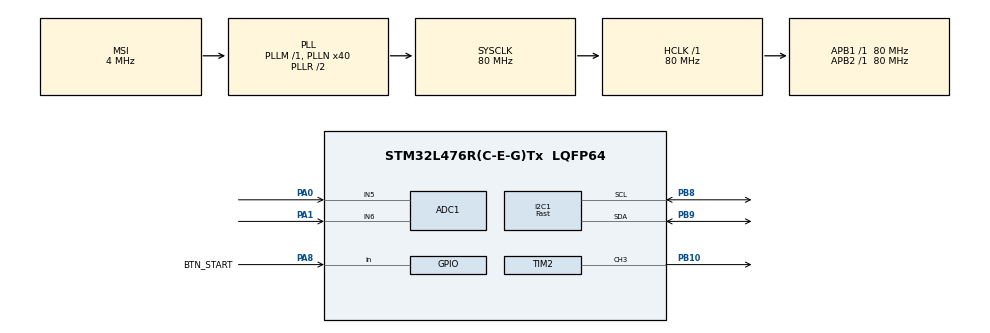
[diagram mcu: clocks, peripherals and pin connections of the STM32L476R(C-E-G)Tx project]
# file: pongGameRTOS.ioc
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ADC1.Channel-1\#ChannelRegularConversion=ADC_CHANNEL_5
ADC1.NbrOfConversionFlag=1
ADC1.OffsetNumber-1\#ChannelRegularConversion=ADC_OFFSET_NONE
ADC1.Rank-1\#ChannelRegularConversion=1
ADC1.SamplingTime-1\#ChannelRegularConversion=ADC_SAMPLETIME_2CYCLES_5
ADC1.master=1
I2C1.I2C_Speed_Mode=I2C_Fast
I2C1.Timing=0x00F12981
Mcu.Family=STM32L4
Mcu.Name=STM32L476R(C-E-G)Tx
Mcu.Package=LQFP64
NVIC.PriorityGroup=NVIC_PRIORITYGROUP_4
NVIC.TIM6_DAC_IRQn=true\:0\:0\:false\:false\:true\:false\:true\:true
NVIC.TimeBase=TIM6_DAC_IRQn
NVIC.TimeBaseIP=TIM6
PA0.Signal=ADCx_IN5
PA1.Signal=ADCx_IN6
PA8.GPIO_Label=BTN_START
PA8.GPIO_PuPd=GPIO_PULLUP
PA8.Signal=GPIO_Input
PB10.Signal=S_TIM2_CH3
PB8.Mode=I2C
PB8.Signal=I2C1_SCL
PB9.Mode=I2C
PB9.Signal=I2C1_SDA
ProjectManager.HeapSize=0x200
ProjectManager.StackSize=0x400
ProjectManager.TargetToolchain=CMake
RCC.ADCFreq_Value=32000000
RCC.AHBFreq_Value=80000000
RCC.APB1Freq_Value=80000000
RCC.APB1TimFreq_Value=80000000
RCC.APB2Freq_Value=80000000
RCC.APB2TimFreq_Value=80000000
RCC.CortexFreq_Value=80000000
RCC.HCLKFreq_Value=80000000
RCC.HSE_VALUE=8000000
RCC.HSI_VALUE=16000000
RCC.LSE_VALUE=32768
RCC.MSI_VALUE=4000000
RCC.PLLN=40
RCC.PLLSAI1N=16
RCC.SYSCLKFreq_VALUE=80000000
RCC.SYSCLKSource=RCC_SYSCLKSOURCE_PLLCLK
RCC.USBFreq_Value=32000000
RCC.VCOOutputFreq_Value=160000000
SH.ADCx_IN5.0=ADC1_IN5,IN5-Single-Ended
SH.ADCx_IN6.0=ADC1_IN6,IN6-Single-Ended
SH.S_TIM2_CH3.0=TIM2_CH3,PWM Generation3 CH3
TIM2.Channel-PWM\ Generation3\ CH3=TIM_CHANNEL_3
VP_SYS_VS_tim6.Mode=TIM6
board=custom

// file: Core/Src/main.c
/* USER CODE BEGIN Header */
/**
  ******************************************************************************
  * @file           : main.c
  * @brief          : Main program body
  ******************************************************************************
  * @attention
  *
  * Copyright (c) 2026 STMicroelectronics.
  * All rights reserved.
  *
  * This software is licensed under terms that can be found in the LICENSE file
  * in the root directory of this software component.
  * If no LICENSE file comes with this software, it is provided AS-IS.
  *
  ******************************************************************************
  */
/* USER CODE END Header */
#include "main.h"

/* USER CODE BEGIN Includes */
#include "ssd1306.h"
#include "ssd1306_fonts.h"
/* USER CODE END Includes */

/* USER CODE BEGIN PTD */
typedef enum {
  GAME_IDLE = 0,      // pantalla de inicio
  GAME_PLAYING,       // partida en curso
  GAME_OVER           // partida terminada (por puntos o por el botón)
} gameState_t;

// Estado del juego compartido entre GameTask (escribe) y RenderTask (lee).
// Protegido por gameMutex.
typedef struct {
  gameState_t state;
  s32 ballX, ballY;          // posición de la bola en Q8 (pixeles * 256)
  s32 paddleY[2];            // posición superior de cada paleta en Q8
  u8  score[2];              // marcador [jugador 1, jugador 2]
  u8  winner;                // 0 = empate/terminado con botón, 1 o 2 = ganador
  u8  ballVisible;           // la bola se oculta durante el saque
  u32 frame;                 // contador de frames (para parpadeos en pantalla)
} game_t;

// Lecturas de entrada compartidas entre InputTask (escribe) y GameTask (lee).
// Protegido por inputMutex.
typedef struct {
  s16 joy[2];                // desviación de cada joystick respecto al centro (-2048..2047)
} input_t;

typedef struct {
  u16 freqHz;                // 0 = silencio
  u16 ms;
} note_t;
/* USER CODE END PTD */

/* USER CODE BEGIN PD */
// ---------------- Hardware ----------------
// Botón START/STOP (activo en bajo). Configurado en CubeMX:
// PA8 (D7) -> GPIO_Input, Pull-up, User Label = BTN_START
#define BUTTON_PORT             BTN_START_GPIO_Port
#define BUTTON_PIN              BTN_START_Pin
#define BUTTON_DEBOUNCE_SAMPLES 3U            // lecturas iguales seguidas

// Joysticks (solo eje Y) -> ADC1
#define JOY1_ADC_CHANNEL        ADC_CHANNEL_5 // PA0 - A0
#define JOY2_ADC_CHANNEL        ADC_CHANNEL_6 // PA1 - A1
#define JOY_CENTER              2048          // centro teórico del ADC de 12 bits
#define JOY_MARGIN              600           // margen alrededor del centro
#define JOY_INVERT_Y            1             // 0/1 si la paleta se mueve al revés

// Buzzer -> TIM2 CH3 en PB10 (D6), PWM al 50 %
#define BUZZER_TIMER            htim2         //htim2 es el handler del TIMER2, este define es un alias
#define BUZZER_CHANNEL          TIM_CHANNEL_3
#define BUZZER_COUNTER_HZ       1000000U      // contador del timer a 1 MHz

// ---------------- Tiempos ----------------
#define GAME_FPS                30U     //30 frames por segundo
#define INPUT_PERIOD_MS         10U     //cada 10ms se lee el adc de cada joystick

// ---------------- Pantalla y juego ----------------
//SCK pin D15 - SDA pin D14
#define SCREEN_W                SSD1306_WIDTH   // 128
#define SCREEN_H                SSD1306_HEIGHT  // 64

#define PADDLE_W                2                           // width of the paddle in pixels
#define PADDLE_H                14                          // height of the paddle in pixels
#define PADDLE_LEFT_X           2                           // initial x position of the left paddle
#define PADDLE_RIGHT_X          (SCREEN_W - 2 - PADDLE_W)   // initial x position of the right paddle
#define PADDLE_SPEED            2   // px por frame al mover el joystick

#define BALL_SIZE               2   // bola de 2x2 px
#define BALL_SPEED_X            2   // px por frame en horizontal (constante)
#define BALL_SPEED_Y            1   // px por frame en vertical (+1 o -1)
#define BALL_SPEED_Y_MAX        2   // velocidad máxima en vertical, para quitarle movimiento deterministico

#define SERVE_DELAY_FRAMES      30U // después de cada punto, la bola desaparece durante 30 frames. A 30 FPS eso es 30 / 30 = 1 segundo para que los jugadores se preparen
#define WIN_SCORE               5U  // el primero que llega a 5 gana y se pasa a la pantalla de fin del juego.s

// ---------------- Mascaras de Eventos ----------------
// Grupo inputEvents (InputTask -> GameTask)
#define EV_BTN_PRESSED          (1U << 0)
// Grupo frameEvents (GameTask -> RenderTask)
#define EV_FRAME_READY          (1U << 0)
// Grupo soundEvents (GameTask -> SoundTask)
#define EV_SND_WALL             (1U << 0)
#define EV_SND_PADDLE           (1U << 1)
#define EV_SND_START            (1U << 2)
#define EV_SND_SCORE            (1U << 3)
#define EV_SND_GAMEOVER         (1U << 4)
#define EV_SND_ALL              (EV_SND_WALL | EV_SND_PADDLE | EV_SND_START | EV_SND_SCORE | EV_SND_GAMEOVER)

// ---------------- Tareas ----------------
// En este RTOS: 0 = prioridad más alta
#define PRIO_SOUND              1
#define PRIO_INPUT              2
#define PRIO_GAME               3
#define PRIO_RENDER             4

#define STACK_SOUND             768
#define STACK_INPUT             1024
#define STACK_GAME              1024
#define STACK_RENDER            1024
/* USER CODE END PD */

/* USER CODE BEGIN PM */
#define MS_TO_TICKS(ms)  ((u32)(ms) * RTOS_TICK_RATE_HZ / 1000U)
#define ARRAY_LEN(a)     (sizeof(a) / sizeof((a)[0]))
/* USER CODE END PM */

ADC_HandleTypeDef hadc1;

I2C_HandleTypeDef hi2c1;

TIM_HandleTypeDef htim2;

/* USER CODE BEGIN PV */
// ---- Tareas ----
TCB_t soundTaskTCB, inputTaskTCB, gameTaskTCB, renderTaskTCB;
u8 soundStack[STACK_SOUND]   __attribute__((aligned(8)));
u8 inputStack[STACK_INPUT]   __attribute__((aligned(8)));
u8 gameStack[STACK_GAME]     __attribute__((aligned(8)));
u8 renderStack[STACK_RENDER] __attribute__((aligned(8)));

// ---- Sincronización ----
static Mutex_t gameMutex;      // protege 'game'
static Mutex_t inputMutex;     // protege 'input'
static event_t inputEvents;    // botón
static event_t frameEvents;    // frame listo para dibujar
static event_t soundEvents;    // efectos de sonido

// ---- Datos compartidos ---- (acceder solo con Mutex)
static game_t  game;
static input_t input;

// ---- Efectos de sonido PWM en buzzer ---- {frecuencia, duración en ms}
static const note_t sndPaddle[]   = { {1000, 25} };                        // "tic" agudo
static const note_t sndWall[]     = { {600, 20} };                         // "tic" más grave
static const note_t sndStart[]    = { {523, 80}, {659, 80}, {784, 120} };  // Do-Mi-Sol subiendo
static const note_t sndScore[]    = { {300, 80}, {0, 20}, {200, 150} };    // dos tonos bajando
static const note_t sndGameOver[] = { {784, 120}, {659, 120}, {523, 120}, {392, 300} }; // Sol-Mi-Do-Sol bajando
/* USER CODE END PV */

void SystemClock_Config(void);
static void MX_GPIO_Init(void);
static void MX_ADC1_Init(void);
static void MX_TIM2_Init(void);
static void MX_I2C1_Init(void);

/* USER CODE BEGIN 0 */
void SoundTask(void);
void InputTask(void);
void GameTask(void);
void RenderTask(void);

// Utilidades de eventos
static u16  eventsWaitAndTake(eventHandler_t ev, u16 bits);
static u16  eventsTake(eventHandler_t ev, u16 bits);

// Hardware
static u32  buttonIsPressed(void);
static u16  joystickReadRaw(u32 channel);
static void buzzerInit(void);
static void buzzerTone(u16 freqHz);
static void buzzerOff(void);

// Juego
static void gameReset(game_t *g);
static void gameServe(game_t *g, s32 *vx, s32 *vy, s8 direction);
static u32  randomNext(void);
static void drawFrame(const game_t *g);
static void drawCenteredText(char *text, u8 y, SSD1306_Font_t font);
static void u8ToString(u8 value, char *out);
/* USER CODE END 0 */

int main(void)
{

  /* MCU Configuration--------------------------------------------------------*/

  /* Reset of all peripherals, Initializes the Flash interface and the Systick. */
  HAL_Init();

  /* Configure the system clock */
  SystemClock_Config();

  /* Initialize all configured peripherals */
  MX_GPIO_Init();
  MX_ADC1_Init();
  MX_TIM2_Init();
  MX_I2C1_Init();
  /* USER CODE BEGIN 2 */
  // El botón (PA8) ya lo configura MX_GPIO_Init()
  buzzerInit();

  HAL_ADCEx_Calibration_Start(&hadc1, ADC_SINGLE_ENDED);

  ssd1306_Init();                    // usa HAL_Delay internamente
  ssd1306_Fill(Black);
  ssd1306_UpdateScreen();

  /* ---------- Prioridades de las interrupciones del RTOS ----------
   * SysTick y PendSV hacen el cambio de contexto: deben tener la prioridad MÁS BAJA
   * (15), igual que TIM6 (base de tiempo de HAL). Así nunca interrumpen a otra ISR
   * y el cambio de contexto siempre ocurre desde una tarea. */
  HAL_NVIC_SetPriority(PendSV_IRQn, 15, 0);
  HAL_NVIC_SetPriority(SysTick_IRQn, 15, 0);

  // ---------- RTOS ----------
  rtosInit(); //Initialize the RTOS

  MutexInit(&gameMutex);
  MutexInit(&inputMutex);
  eventsInit(&inputEvents, 0);
  eventsInit(&frameEvents, 0);
  eventsInit(&soundEvents, 0);

  gameReset(&game);
  game.state = GAME_IDLE;

  taskCreate(&soundTaskTCB,  SoundTask,  PRIO_SOUND,  soundStack,  STACK_SOUND,  "SoundTask");
  taskCreate(&inputTaskTCB,  InputTask,  PRIO_INPUT,  inputStack,  STACK_INPUT,  "InputTask");
  taskCreate(&gameTaskTCB,   GameTask,   PRIO_GAME,   gameStack,   STACK_GAME,   "GameTask");
  taskCreate(&renderTaskTCB, RenderTask, PRIO_RENDER, renderStack, STACK_RENDER, "RenderTask");

  rtosStart(); //Starting the RTOS scheduler
  /* USER CODE END 2 */

  /* Infinite loop */
  while (1)
  {

  }
}

void SystemClock_Config(void)
{
  RCC_OscInitTypeDef RCC_OscInitStruct = {0};
  RCC_ClkInitTypeDef RCC_ClkInitStruct = {0};

  /** Configure the main internal regulator output voltage
  */
  if (HAL_PWREx_ControlVoltageScaling(PWR_REGULATOR_VOLTAGE_SCALE1) != HAL_OK)
  {
    Error_Handler();
  }

  /** Initializes the RCC Oscillators according to the specified parameters
  * in the RCC_OscInitTypeDef structure.
  */
  RCC_OscInitStruct.OscillatorType = RCC_OSCILLATORTYPE_MSI;
  RCC_OscInitStruct.MSIState = RCC_MSI_ON;
  RCC_OscInitStruct.MSICalibrationValue = 0;
  RCC_OscInitStruct.MSIClockRange = RCC_MSIRANGE_6;
  RCC_OscInitStruct.PLL.PLLState = RCC_PLL_ON;
  RCC_OscInitStruct.PLL.PLLSource = RCC_PLLSOURCE_MSI;
  RCC_OscInitStruct.PLL.PLLM = 1;
  RCC_OscInitStruct.PLL.PLLN = 40;
  RCC_OscInitStruct.PLL.PLLP = RCC_PLLP_DIV7;
  RCC_OscInitStruct.PLL.PLLQ = RCC_PLLQ_DIV2;
  RCC_OscInitStruct.PLL.PLLR = RCC_PLLR_DIV2;
  if (HAL_RCC_OscConfig(&RCC_OscInitStruct) != HAL_OK)
  {
    Error_Handler();
  }

  /** Initializes the CPU, AHB and APB buses clocks
  */
  RCC_ClkInitStruct.ClockType = RCC_CLOCKTYPE_HCLK|RCC_CLOCKTYPE_SYSCLK
                              |RCC_CLOCKTYPE_PCLK1|RCC_CLOCKTYPE_PCLK2;
  RCC_ClkInitStruct.SYSCLKSource = RCC_SYSCLKSOURCE_PLLCLK;
  RCC_ClkInitStruct.AHBCLKDivider = RCC_SYSCLK_DIV1;
  RCC_ClkInitStruct.APB1CLKDivider = RCC_HCLK_DIV1;
  RCC_ClkInitStruct.APB2CLKDivider = RCC_HCLK_DIV1;

  if (HAL_RCC_ClockConfig(&RCC_ClkInitStruct, FLASH_LATENCY_4) != HAL_OK)
  {
    Error_Handler();
  }
}

static void MX_ADC1_Init(void)
{

  ADC_MultiModeTypeDef multimode = {0};
  ADC_ChannelConfTypeDef sConfig = {0};

  /** Common config
  */
  hadc1.Instance = ADC1;
  hadc1.Init.ClockPrescaler = ADC_CLOCK_ASYNC_DIV1;
  hadc1.Init.Resolution = ADC_RESOLUTION_12B;
  hadc1.Init.DataAlign = ADC_DATAALIGN_RIGHT;
  hadc1.Init.ScanConvMode = ADC_SCAN_DISABLE;
  hadc1.Init.EOCSelection = ADC_EOC_SINGLE_CONV;
  hadc1.Init.LowPowerAutoWait = DISABLE;
  hadc1.Init.ContinuousConvMode = DISABLE;
  hadc1.Init.NbrOfConversion = 1;
  hadc1.Init.DiscontinuousConvMode = DISABLE;
  hadc1.Init.ExternalTrigConv = ADC_SOFTWARE_START;
  hadc1.Init.ExternalTrigConvEdge = ADC_EXTERNALTRIGCONVEDGE_NONE;
  hadc1.Init.DMAContinuousRequests = DISABLE;
  hadc1.Init.Overrun = ADC_OVR_DATA_PRESERVED;
  hadc1.Init.OversamplingMode = DISABLE;
  if (HAL_ADC_Init(&hadc1) != HAL_OK)
  {
    Error_Handler();
  }

  /** Configure the ADC multi-mode
  */
  multimode.Mode = ADC_MODE_INDEPENDENT;
  if (HAL_ADCEx_MultiModeConfigChannel(&hadc1, &multimode) != HAL_OK)
  {
    Error_Handler();
  }

  /** Configure Regular Channel
  */
  sConfig.Channel = ADC_CHANNEL_5;
  sConfig.Rank = ADC_REGULAR_RANK_1;
  sConfig.SamplingTime = ADC_SAMPLETIME_2CYCLES_5;
  sConfig.SingleDiff = ADC_SINGLE_ENDED;
  sConfig.OffsetNumber = ADC_OFFSET_NONE;
  sConfig.Offset = 0;
  if (HAL_ADC_ConfigChannel(&hadc1, &sConfig) != HAL_OK)
  {
    Error_Handler();
  }

}

static void MX_I2C1_Init(void)
{

  hi2c1.Instance = I2C1;
  hi2c1.Init.Timing = 0x00F12981;
  hi2c1.Init.OwnAddress1 = 0;
  hi2c1.Init.AddressingMode = I2C_ADDRESSINGMODE_7BIT;
  hi2c1.Init.DualAddressMode = I2C_DUALADDRESS_DISABLE;
  hi2c1.Init.OwnAddress2 = 0;
  hi2c1.Init.OwnAddress2Masks = I2C_OA2_NOMASK;
  hi2c1.Init.GeneralCallMode = I2C_GENERALCALL_DISABLE;
  hi2c1.Init.NoStretchMode = I2C_NOSTRETCH_DISABLE;
  if (HAL_I2C_Init(&hi2c1) != HAL_OK)
  {
    Error_Handler();
  }

  /** Configure Analogue filter
  */
  if (HAL_I2CEx_ConfigAnalogFilter(&hi2c1, I2C_ANALOGFILTER_ENABLE) != HAL_OK)
  {
    Error_Handler();
  }

  /** Configure Digital filter
  */
  if (HAL_I2CEx_ConfigDigitalFilter(&hi2c1, 0) != HAL_OK)
  {
    Error_Handler();
  }

}

static void MX_TIM2_Init(void)
{

  TIM_MasterConfigTypeDef sMasterConfig = {0};
  TIM_OC_InitTypeDef sConfigOC = {0};

  htim2.Instance = TIM2;
  htim2.Init.Prescaler = 0;
  htim2.Init.CounterMode = TIM_COUNTERMODE_UP;
  htim2.Init.Period = 4294967295;
  htim2.Init.ClockDivision = TIM_CLOCKDIVISION_DIV1;
  htim2.Init.AutoReloadPreload = TIM_AUTORELOAD_PRELOAD_DISABLE;
  if (HAL_TIM_PWM_Init(&htim2) != HAL_OK)
  {
    Error_Handler();
  }
  sMasterConfig.MasterOutputTrigger = TIM_TRGO_RESET;
  sMasterConfig.MasterSlaveMode = TIM_MASTERSLAVEMODE_DISABLE;
  if (HAL_TIMEx_MasterConfigSynchronization(&htim2, &sMasterConfig) != HAL_OK)
  {
    Error_Handler();
  }
  sConfigOC.OCMode = TIM_OCMODE_PWM1;
  sConfigOC.Pulse = 0;
  sConfigOC.OCPolarity = TIM_OCPOLARITY_HIGH;
  sConfigOC.OCFastMode = TIM_OCFAST_DISABLE;
  if (HAL_TIM_PWM_ConfigChannel(&htim2, &sConfigOC, TIM_CHANNEL_3) != HAL_OK)
  {
    Error_Handler();
  }
  HAL_TIM_MspPostInit(&htim2);

}

static void MX_GPIO_Init(void)
{
  GPIO_InitTypeDef GPIO_InitStruct = {0};

  /* GPIO Ports Clock Enable */
  __HAL_RCC_GPIOA_CLK_ENABLE();
  __HAL_RCC_GPIOB_CLK_ENABLE();

  /*Configure GPIO pin : BTN_START_Pin */
  GPIO_InitStruct.Pin = BTN_START_Pin;
  GPIO_InitStruct.Mode = GPIO_MODE_INPUT;
  GPIO_InitStruct.Pull = GPIO_PULLUP;
  HAL_GPIO_Init(BTN_START_GPIO_Port, &GPIO_InitStruct);

}

/* USER CODE BEGIN 4 */
/* ==========================================================================
 *                          UTILIDADES DE EVENTOS
 * ========================================================================== */

/**
 * @brief Espera a que se active alguno de 'bits' y los consume (los borra).
 * @details eventsWaitAny() siempre bloquea, aunque el bit ya esté activo. Para no
 * perder un aviso, se revisa el bit y se llama a eventsWaitAny() dentro de una
 * sección crítica: el bloqueo real (PendSV) ocurre al habilitar interrupciones,
 * cuando la tarea ya está en la cola de espera. Así ningún eventsSetEvent()
 * puede colarse entre la comprobación y la espera.
 * @return bits que se activaron (y que fueron borrados)
 */
static u16 eventsWaitAndTake(eventHandler_t ev, u16 bits)
{
  u16 got = 0;
  while (got == 0) {
    portableDisableInterrupts();
    if ((ev->events & bits) == 0) {
      eventsWaitAny(ev, bits);          // encola la tarea; el cambio de contexto queda pendiente
    }
    portableEnableInterrupts();         // aquí se bloquea la tarea si no había bits
    got = eventsTake(ev, bits);         // al despertar: leer y borrar
  }
  return got;
}

/**
 * @brief Lee y borra de forma atómica los bits indicados, sin bloquear.
 * @return bits que estaban activos
 */
static u16 eventsTake(eventHandler_t ev, u16 bits)
{
  portableDisableInterrupts();
  u16 got = ev->events & bits;
  if (got) {
    eventsClearEvent(ev, got);
  }
  portableEnableInterrupts();
  return got;
}

/* ==========================================================================
 *                               HARDWARE
 * ========================================================================== */

static u32 buttonIsPressed(void)
{
  return (HAL_GPIO_ReadPin(BUTTON_PORT, BUTTON_PIN) == GPIO_PIN_RESET);   // activo en bajo
}

/**
 * @brief Una conversión del ADC1 en el canal indicado (polling).
 * @note  Solo la usa InputTask, por eso el ADC no necesita mutex.
 */
static u16 joystickReadRaw(u32 channel)
{
  ADC_ChannelConfTypeDef cfg = {0};
  u16 value = 2048;

  cfg.Channel      = channel;
  cfg.Rank         = ADC_REGULAR_RANK_1;
  cfg.SamplingTime = ADC_SAMPLETIME_247CYCLES_5;   // potenciómetros de 10k: más tiempo de muestreo
  cfg.SingleDiff   = ADC_SINGLE_ENDED;
  cfg.OffsetNumber = ADC_OFFSET_NONE;
  cfg.Offset       = 0;

  if (HAL_ADC_ConfigChannel(&hadc1, &cfg) != HAL_OK) {
    return value;
  }

  // Dos conversiones seguidas: la primera tras cambiar de canal puede arrastrar
  // carga del canal anterior, así que se descarta y se usa la segunda.
  for (u8 i = 0; i < 2; i++) {
    HAL_ADC_Start(&hadc1);
    if (HAL_ADC_PollForConversion(&hadc1, 5) == HAL_OK) {
      value = (u16)HAL_ADC_GetValue(&hadc1);
    }
  }
  HAL_ADC_Stop(&hadc1);
  return value;
}

/** @brief Configura el contador del timer del buzzer a 1 MHz y arranca el PWM en silencio. */
static void buzzerInit(void)
{
  // Reloj del timer: TIM2 está en APB1. Si el prescaler de APB1 es > 1, el timer va al doble.
  u32 timClk = HAL_RCC_GetPCLK1Freq();
  if ((RCC->CFGR & RCC_CFGR_PPRE1) != RCC_CFGR_PPRE1_DIV1) {
    timClk *= 2U;
  }
  __HAL_TIM_SET_PRESCALER(&BUZZER_TIMER, (timClk / BUZZER_COUNTER_HZ) - 1U);
  __HAL_TIM_SET_AUTORELOAD(&BUZZER_TIMER, 1000U - 1U);
  __HAL_TIM_SET_COMPARE(&BUZZER_TIMER, BUZZER_CHANNEL, 0);        // 0 % = silencio
  HAL_TIM_GenerateEvent(&BUZZER_TIMER, TIM_EVENTSOURCE_UPDATE);   // cargar el prescaler ya
  HAL_TIM_PWM_Start(&BUZZER_TIMER, BUZZER_CHANNEL);
}

/** @brief Genera un tono cuadrado al 50 % (para buzzer pasivo). */
static void buzzerTone(u16 freqHz)
{
  if (freqHz == 0U) {
    buzzerOff();
    return;
  }
  u32 arr = (BUZZER_COUNTER_HZ / freqHz) - 1U;
  __HAL_TIM_SET_AUTORELOAD(&BUZZER_TIMER, arr);
  __HAL_TIM_SET_COMPARE(&BUZZER_TIMER, BUZZER_CHANNEL, arr / 2U);
  __HAL_TIM_SET_COUNTER(&BUZZER_TIMER, 0);   // evita que el contador quede por encima del nuevo ARR
}

static void buzzerOff(void)
{
  __HAL_TIM_SET_COMPARE(&BUZZER_TIMER, BUZZER_CHANNEL, 0);
}

/* ==========================================================================
 *                             LÓGICA DEL JUEGO
 * ========================================================================== */

/** @brief Generador pseudoaleatorio simple (xorshift32). */
static u32 randomNext(void)
{
  static u32 seed = 0;
  if (seed == 0U) {
    seed = (u32)portableGetSystemTicks() ^ 0xA5A5F00DU;
    if (seed == 0U) seed = 1U;
  }
  seed ^= seed << 13;
  seed ^= seed >> 17;
  seed ^= seed << 5;
  return seed;
}

/** @brief Deja el marcador en 0 y las paletas centradas. */
static void gameReset(game_t *g)
{
  g->score[0] = 0;
  g->score[1] = 0;
  g->winner   = 0;
  g->paddleY[0] = (SCREEN_H - PADDLE_H) / 2;
  g->paddleY[1] = (SCREEN_H - PADDLE_H) / 2;
  g->ballX = (SCREEN_W - BALL_SIZE) / 2;
  g->ballY = (SCREEN_H - BALL_SIZE) / 2;
  g->ballVisible = 0;
}

/**
 * @brief Coloca la bola en el centro y le da velocidad hacia 'direction'.
 * @param direction -1 = hacia el jugador 1 (izquierda), +1 = hacia el jugador 2 (derecha)
 */
static void gameServe(game_t *g, s32 *vx, s32 *vy, s8 direction)
{
  g->ballX = (SCREEN_W - BALL_SIZE) / 2;                    // centro horizontal
  g->ballY = 8 + (s32)(randomNext() % (SCREEN_H - 16));     // altura al azar (8..55)
  *vx = (direction < 0) ? -BALL_SPEED_X : BALL_SPEED_X;
  *vy = (randomNext() & 1U) ? -BALL_SPEED_Y : BALL_SPEED_Y; // sube o baja al azar
}
/* ==========================================================================
 *                                 TAREAS
 * ========================================================================== */

/**
 * @brief InputTask: lee joysticks y botón cada 10 ms.
 *  - Joysticks -> input.joy[] (protegido con inputMutex).
 *  - Flanco de pulsación del botón (con antirrebote) -> evento EV_BTN_PRESSED.
 */
void InputTask(void)
{
  const u32 channels[2] = {JOY1_ADC_CHANNEL, JOY2_ADC_CHANNEL};
  u32 btnState = 0;      // estado confirmado: 1 = presionado
  u32 btnCount = 0;      // lecturas consecutivas distintas al estado confirmado

  for (;;) {
    /* ---- Joysticks: solo importa la dirección ---- */
    s8 dir[2];
    for (u8 j = 0; j < 2; j++) {
      u16 raw = joystickReadRaw(channels[j]);

      if (raw < JOY_CENTER - JOY_MARGIN)      dir[j] = -1;   // inclinado hacia un lado
      else if (raw > JOY_CENTER + JOY_MARGIN) dir[j] = +1;   // inclinado hacia el otro
      else                                    dir[j] = 0;    // dentro del margen: quieto
#if JOY_INVERT_Y
      dir[j] = (s8)-dir[j];
#endif
    }

    MutexLock(&inputMutex);
    input.joy[0] = dir[0];
    input.joy[1] = dir[1];
    MutexUnlock(&inputMutex);

    /* ---- Botón START/STOP con antirrebote ---- */
    u32 raw = buttonIsPressed();
    if (raw != btnState) {
      if (++btnCount >= BUTTON_DEBOUNCE_SAMPLES) {
        btnState = raw;
        btnCount = 0;
        if (btnState) {                                 // solo al presionar, no al soltar
          eventsSetEvent(&inputEvents, EV_BTN_PRESSED);
        }
      }
    } else {
      btnCount = 0;
    }

    taskDelay(MS_TO_TICKS(INPUT_PERIOD_MS));
  }
}

/**
 * @brief GameTask: bucle principal a 30 FPS.
 * Trabaja sobre una copia privada 'g' y al final de cada frame la publica en
 * 'game' con gameMutex (sección crítica corta). Luego avisa a RenderTask.
 */
void GameTask(void)
{
  game_t g;
  s32 vx = 0, vy = 0;                  // velocidad de la bola (px/frame)
  u32 serveCountdown = 0;
  s8  serveDir = 1;
  u64 startTicks = portableGetSystemTicks();
  u64 frameIndex = 0;

  MutexLock(&gameMutex);
  g = game;
  MutexUnlock(&gameMutex);

  for (;;) {
    u16 sounds = 0;

    /* ---------- 1. Botón START/STOP ---------- */
    if (eventsTake(&inputEvents, EV_BTN_PRESSED)) {
      if (g.state == GAME_PLAYING) {
        // Terminar la partida manualmente
        g.state  = GAME_OVER;
        g.winner = (g.score[0] > g.score[1]) ? 1 : (g.score[1] > g.score[0]) ? 2 : 0;
        g.ballVisible = 0;
        buzzerOff();
        sounds |= EV_SND_GAMEOVER;
      } else {
        // Empezar una partida nueva (desde IDLE o GAME_OVER)
        gameReset(&g);
        g.state = GAME_PLAYING;
        serveDir = (randomNext() & 1U) ? 1 : -1;
        serveCountdown = SERVE_DELAY_FRAMES;
        sounds |= EV_SND_START;
      }
    }

    /* ---------- 2. Paletas (también se mueven en IDLE para probar los mandos) ---------- */
    s16 joy[2];
    MutexLock(&inputMutex);
    joy[0] = input.joy[0];
    joy[1] = input.joy[1];
    MutexUnlock(&inputMutex);

    // Fuera de la zona muerta, la paleta se mueve PADDLE_SPEED px en la dirección del joystick
    for (u8 p = 0; p < 2; p++) {
      if (joy[p] < 0)      g.paddleY[p] -= PADDLE_SPEED;   // baja
      else if (joy[p] > 0) g.paddleY[p] += PADDLE_SPEED;   // sube

      if (g.paddleY[p] < 0) g.paddleY[p] = 0;              // limites en el techo y en el piso
      if (g.paddleY[p] > SCREEN_H - PADDLE_H) g.paddleY[p] = SCREEN_H - PADDLE_H;
    }

    /* ---------- 3. Bola ---------- */
    if (g.state == GAME_PLAYING) {
      if (serveCountdown > 0U) {
        // Pausa antes del saque
        serveCountdown--;
        g.ballVisible = 0;
        if (serveCountdown == 0U) {
          gameServe(&g, &vx, &vy, serveDir);
          g.ballVisible = 1;
        }
      } else {
        s32 oldX = g.ballX;
        g.ballX += vx;
        g.ballY += vy;

        // Paredes superior e inferior: la bola rebota invirtiendo vy
        if (g.ballY < 0) {
          g.ballY = -g.ballY;
          vy = -vy;
          sounds |= EV_SND_WALL;
        } else if (g.ballY > SCREEN_H - BALL_SIZE) {
          g.ballY = 2 * (SCREEN_H - BALL_SIZE) - g.ballY;
          vy = -vy;
          sounds |= EV_SND_WALL;
        }

        // Paletas: se comprueba si la bola cruzó la cara de la paleta en este frame
        const s32 leftFace  = PADDLE_LEFT_X + PADDLE_W;      // x = 4  (cara derecha de la paleta 1)
        const s32 rightFace = PADDLE_RIGHT_X - BALL_SIZE;    // x = 122 (bola pegada a la paleta 2)

        s32 ballTop = g.ballY;
        s32 ballBot = g.ballY + BALL_SIZE - 1;

        for (u8 p = 0; p < 2; p++) {
          u8 crossed = (p == 0) ? (vx < 0 && oldX >= leftFace  && g.ballX < leftFace)
                                : (vx > 0 && oldX <= rightFace && g.ballX > rightFace);
          if (!crossed) continue;

          s32 padTop = g.paddleY[p];
          s32 padBot = padTop + PADDLE_H - 1;
          if (ballBot >= padTop && ballTop <= padBot) {
            // Rebote: misma velocidad, sentido contrario
            vx = -vx;
            g.ballX = (p == 0) ? leftFace : rightFace;

            // Si pega en la mitad de arriba de la paleta sale hacia arriba; abajo, hacia abajo
            s32 ballCenter   = ballTop + BALL_SIZE / 2;
            s32 paddleCenter = padTop + PADDLE_H / 2;
            s32 speedY       = 1 + (s32)(randomNext() % BALL_SPEED_Y_MAX);   // varia aleatoriamente entre 1 y BALL_SPEED_Y_MAX para cambiar el ángulo de rebote
            vy = (ballCenter < paddleCenter) ? -speedY : speedY;

            sounds |= EV_SND_PADDLE;
          }
        }

        // Punto: la bola salió por un lado
        s8 scorer = -1;
        if (g.ballX < -BALL_SIZE)        scorer = 1;   // salió por la izquierda: punto para el jugador 2
        else if (g.ballX > SCREEN_W)     scorer = 0;   // salió por la derecha: punto para el jugador 1

        if (scorer >= 0) {
          g.score[scorer]++;
          g.ballVisible = 0;
          serveDir = (scorer == 0) ? 1 : -1;                  // saca hacia el que perdió el punto
          if (g.score[scorer] >= WIN_SCORE) {
            g.state  = GAME_OVER;
            g.winner = (u8)(scorer + 1);
            sounds |= EV_SND_GAMEOVER;
          } else {
            serveCountdown = SERVE_DELAY_FRAMES;
            sounds |= EV_SND_SCORE;
          }
        }
      }
    }

    g.frame++;

    /* ---------- 4. Publicar el frame y avisar ---------- */
    MutexLock(&gameMutex);
    game = g;
    MutexUnlock(&gameMutex);

    eventsSetEvent(&frameEvents, EV_FRAME_READY);
    if (sounds) {
      eventsSetEvent(&soundEvents, sounds);
    }

    /* ---------- 5. Esperar al siguiente frame (30 FPS exactos en promedio) ---------- */
    frameIndex++;
    u64 nextFrame = startTicks + (frameIndex * RTOS_TICK_RATE_HZ) / GAME_FPS;
    u64 now = portableGetSystemTicks();
    if (nextFrame > now) {
      taskDelay((u32)(nextFrame - now));
    } else {
      // Vamos atrasados (el dibujo tardó más que un frame): no acumular retraso
      startTicks = now;
      frameIndex = 0;
      taskDelay(1);
    }
  }
}

/**
 * @brief RenderTask: espera EV_FRAME_READY, copia el estado y dibuja.
 * Es la ÚNICA tarea que usa la pantalla/I2C, así que el bus no necesita mutex.
 * Tiene la prioridad más baja porque ssd1306_UpdateScreen() tarda ~25 ms.
 */
void RenderTask(void)
{
  game_t snapshot;

  for (;;) {
    eventsWaitAndTake(&frameEvents, EV_FRAME_READY);

    MutexLock(&gameMutex);
    snapshot = game;                 // copia rápida; el dibujo se hace sin el mutex
    MutexUnlock(&gameMutex);

    drawFrame(&snapshot);
    ssd1306_UpdateScreen();
  }
}

/**
 * @brief SoundTask: espera eventos de sonido y toca el efecto más importante.
 * Si llegan varios a la vez, gana el de mayor prioridad (fin > punto > inicio > paleta > pared).
 */
void SoundTask(void)
{
  for (;;) {
    u16 ev = eventsWaitAndTake(&soundEvents, EV_SND_ALL);

    const note_t *melody;
    u8 len;
    if      (ev & EV_SND_GAMEOVER) { melody = sndGameOver; len = ARRAY_LEN(sndGameOver); }
    else if (ev & EV_SND_SCORE)    { melody = sndScore;    len = ARRAY_LEN(sndScore); }
    else if (ev & EV_SND_START)    { melody = sndStart;    len = ARRAY_LEN(sndStart); }
    else if (ev & EV_SND_PADDLE)   { melody = sndPaddle;   len = ARRAY_LEN(sndPaddle); }
    else                           { melody = sndWall;     len = ARRAY_LEN(sndWall); }

    for (u8 i = 0; i < len; i++) {
      buzzerTone(melody[i].freqHz);
      taskDelay(MS_TO_TICKS(melody[i].ms));
    }
    buzzerOff();
  }
}

/* ==========================================================================
 *                                 DIBUJO
 * ========================================================================== */
/***
 * @brief Convierte un número de 8 bits a cadena de caracteres.
 * @details Solo para valores 0..99. No usa sprintf() ni malloc(). Si value >= 10, se generan dos dígitos; si es < 10, un solo dígito. La cadena resultante siempre termina en '\0'.
 * @param value Número a convertir.
 * @param out Cadena de caracteres donde se almacenará el resultado.
 */
static void u8ToString(u8 value, char *out)
{
  if (value >= 10U) {
    out[0] = (char)('0' + value / 10U);
    out[1] = (char)('0' + value % 10U);
    out[2] = '\0';
  } else {
    out[0] = (char)('0' + value);
    out[1] = '\0';
  }
}

static void drawCenteredText(char *text, u8 y, SSD1306_Font_t font)
{
  u8 len = 0;
  while (text[len] != '\0') len++;
  s32 x = ((s32)SCREEN_W - (s32)len * font.width) / 2;
  if (x < 0) x = 0;
  ssd1306_SetCursor((u8)x, y);
  ssd1306_WriteString(text, font, White);
}

static void drawFrame(const game_t *g)
{
  char buf[4];

  ssd1306_Fill(Black);

  /* Paletas (siempre visibles, así se pueden probar los joysticks en cualquier pantalla) */
  for (u8 p = 0; p < 2; p++) {
    u8 x = (p == 0) ? PADDLE_LEFT_X : PADDLE_RIGHT_X;
    u8 y = (u8)g->paddleY[p];
    ssd1306_FillRectangle(x, y, x + PADDLE_W - 1, y + PADDLE_H - 1, White);
  }

  switch (g->state) {
  case GAME_IDLE:
    drawCenteredText("PONG", 8, Font_11x18);
    drawCenteredText("My-Own-RTOS", 30, Font_6x8);
    if ((g->frame / 15U) % 2U == 0U) {                 // parpadeo de 0.5 s
      drawCenteredText("Presiona START", 50, Font_6x8);
    }
    break;

  case GAME_PLAYING:
    /* Red central discontinua */
    for (u8 y = 0; y < SCREEN_H; y += 4) {
      ssd1306_DrawPixel(SCREEN_W / 2 - 1, y, White);
      ssd1306_DrawPixel(SCREEN_W / 2 - 1, y + 1, White);
    }
    /* Marcador */
    u8ToString(g->score[0], buf);
    ssd1306_SetCursor(SCREEN_W / 2 - 16, 1);
    ssd1306_WriteString(buf, Font_7x10, White);
    u8ToString(g->score[1], buf);
    ssd1306_SetCursor(SCREEN_W / 2 + 9, 1);
    ssd1306_WriteString(buf, Font_7x10, White);
    /* Bola */
    if (g->ballVisible) {
      s32 bx = g->ballX;
      s32 by = g->ballY;
      if (bx >= 0 && bx <= SCREEN_W - BALL_SIZE && by >= 0 && by <= SCREEN_H - BALL_SIZE) {
        ssd1306_FillRectangle((u8)bx, (u8)by, (u8)(bx + BALL_SIZE - 1), (u8)(by + BALL_SIZE - 1), White);
      }
    }
    break;

  case GAME_OVER:
  default: {
    char score[8];
    u8 i = 0;
    drawCenteredText("FIN DEL JUEGO", 2, Font_7x10);
    u8ToString(g->score[0], buf);
    for (u8 k = 0; buf[k]; k++) score[i++] = buf[k];
    score[i++] = '-';
    u8ToString(g->score[1], buf);
    for (u8 k = 0; buf[k]; k++) score[i++] = buf[k];
    score[i] = '\0';
    drawCenteredText(score, 16, Font_11x18);
    if (g->winner == 1)      drawCenteredText("GANA JUGADOR 1", 38, Font_6x8);
    else if (g->winner == 2) drawCenteredText("GANA JUGADOR 2", 38, Font_6x8);
    else                     drawCenteredText("EMPATE", 38, Font_6x8);
    if ((g->frame / 15U) % 2U == 0U) {
      drawCenteredText("START: jugar", 52, Font_6x8);
    }
    break;
  }
  }
}
/* USER CODE END 4 */

void HAL_TIM_PeriodElapsedCallback(TIM_HandleTypeDef *htim)
{
  if (htim->Instance == TIM6)
  {
    HAL_IncTick();
  }
}

void Error_Handler(void)
{
  __disable_irq();
  while (1)
  {
  }
}
